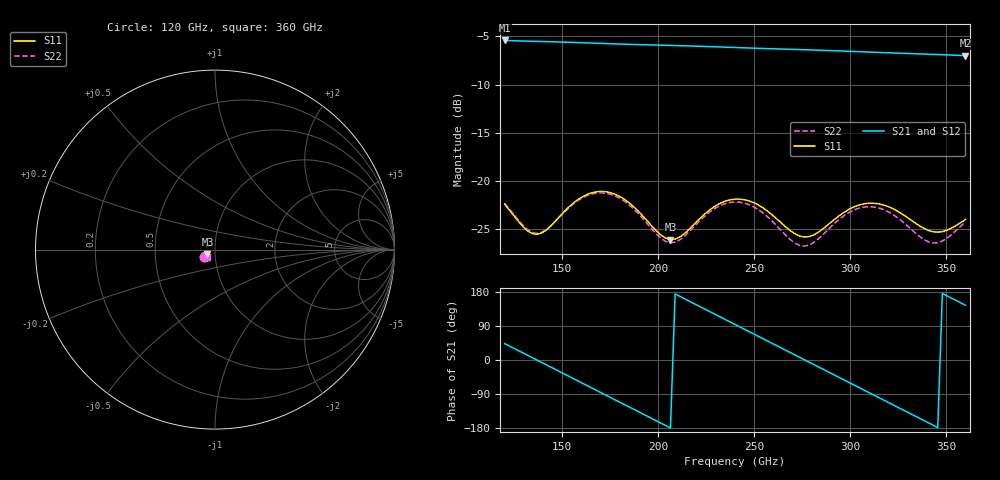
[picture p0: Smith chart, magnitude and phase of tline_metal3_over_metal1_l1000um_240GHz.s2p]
#  GHZ S DB R 50
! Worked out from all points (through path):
!   101 points, 120 GHz to 360 GHz, reference 50 ohm
!   highest |S21| = -5.43 dB at 120 GHz (marker M1); lowest = -7.0 dB at 360 GHz (marker M2)
!   group delay of S21, straight-line fit = 7.16 ps
!   lowest |S11| = -26.0 dB at 206.4 GHz (marker M3), VSWR 1.10, Z = 45.9 - j2.48 ohm
!   |S11| at or under -10 dB: start of sweep to end of sweep
!   |S22| runs from -26.7 to -21.2 dB; largest |S21 - S12| = 2.8e-16
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120  -22.39 -145.3  -5.43 43.2  -5.43 43.2  -22.29 -145.5
129.6  -24.71 -143.2  -5.49 18.6  -5.49 18.6  -24.58 -143.9
139.2  -25.38 -128.5  -5.54 -6.2  -5.54 -6.2  -25.31 -130.0
148.8  -23.63 -120.9  -5.59 -30.9  -5.59 -30.9  -23.67 -122.4
160.8  -21.58 -128.4  -5.67 -61.9  -5.67 -61.9  -21.70 -129.7
170.4  -21.06 -139.8  -5.74 -86.7  -5.74 -86.7  -21.21 -141.0
180  -21.59 -151.3  -5.80 -111.4  -5.80 -111.4  -21.77 -152.5
192  -23.61 -159.7  -5.87 -142.3  -5.87 -142.3  -23.87 -160.8
201.6  -25.60 -154.5  -5.92 -167.0  -5.92 -167.0  -25.94 -155.1
206.4  -26.04 -147.3  -5.95 -179.4  -5.95 -179.4  -26.38 -147.4
220.8  -24.05 -133.4  -6.03 143.4  -6.03 143.4  -24.27 -133.5
240  -21.86 -147.4  -6.16 93.8  -6.16 93.8  -22.16 -148.3
249.6  -22.22 -157.0  -6.23 69.1  -6.23 69.1  -22.64 -158.3
261.6  -23.88 -163.6  -6.30 38.2  -6.30 38.2  -24.59 -164.7
273.6  -25.68 -156.1  -6.38 7.2  -6.38 7.2  -26.66 -154.3
280.8  -25.58 -147.0  -6.42 -11.3  -6.42 -11.3  -26.38 -143.1
290.4  -24.19 -141.3  -6.49 -36.1  -6.49 -36.1  -24.64 -137.1
302.4  -22.63 -146.2  -6.58 -67.1  -6.58 -67.1  -22.95 -143.4
312  -22.28 -154.3  -6.65 -91.8  -6.65 -91.8  -22.67 -152.3
321.6  -22.79 -161.7  -6.72 -116.5  -6.72 -116.5  -23.37 -160.1
340.8  -25.11 -160.4  -6.86 -165.9  -6.86 -165.9  -26.29 -154.6
360  -23.98 -147.7  -7.00 144.6  -7.00 144.6  -24.22 -136.9
